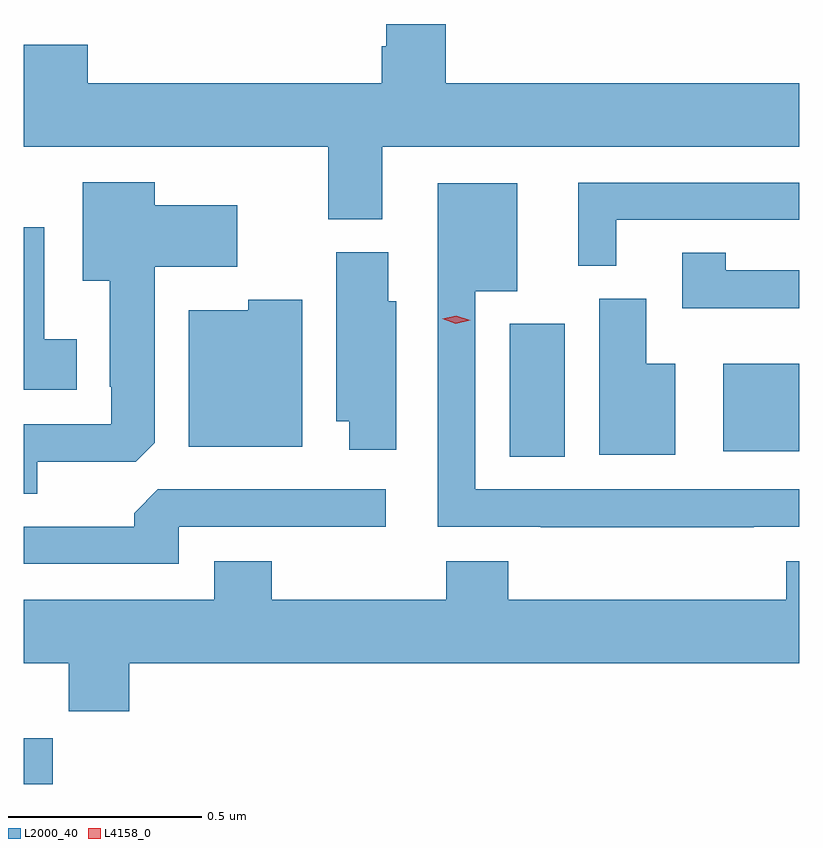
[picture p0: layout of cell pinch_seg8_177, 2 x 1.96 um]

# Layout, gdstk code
import gdstk
lib = gdstk.Library(unit=1e-6, precision=1e-09)
def R(c, l, rs):  # rectangles x0, y0, x1, y1
    for r in rs: c.add(gdstk.rectangle(r[:2], r[2:], *l))
def P(c, l, *ps):  # polygons
    for p in ps: c.add(gdstk.Polygon(p, *l))
L2000_40 = (2000, 40)
L4158_0 = (4158, 0)

pinch_seg8_177 = lib.new_cell('pinch_seg8_177')
R(pinch_seg8_177, L2000_40, [(682.248,1138.832,682.322,1138.95), (683.501,1139.677,683.644,1140.019), (684.053,1139.69,684.248,1139.917)])
P(pinch_seg8_177, L2000_40, [(683.173,1140.476),(684.248,1140.476),(684.248,1140.64),(683.336,1140.64),(683.336,1140.793),(683.183,1140.793),(683.183,1140.736),(683.171,1140.736),(683.171,1140.64),(682.412,1140.64),(682.412,1140.739),(682.248,1140.739),(682.248,1140.476),(683.033,1140.476),(683.033,1140.289),(683.173,1140.289)],
  [(682.282,1139.664),(682.536,1139.664),(682.585,1139.713),(682.585,1140.167),(682.798,1140.167),(682.798,1140.325),(682.585,1140.325),(682.585,1140.385),(682.4,1140.385),(682.4,1140.131),(682.469,1140.131),(682.469,1139.857),(682.473,1139.857),(682.473,1139.76),(682.248,1139.76),(682.248,1139.581),(682.282,1139.581)],
  [(683.776,1140.288),(684.248,1140.288),(684.248,1140.384),(683.678,1140.384),(683.678,1140.169),(683.776,1140.169)],
  [(684.131,1139.496),(684.248,1139.496),(684.248,1139.592),(683.412,1139.592),(683.412,1140.104),(683.521,1140.104),(683.521,1140.382),(683.316,1140.382),(683.316,1139.496),(683.581,1139.496),(683.581,1139.495),(684.131,1139.495)],
  [(682.384,1139.98),(682.3,1139.98),(682.3,1140.268),(682.248,1140.268),(682.248,1139.849),(682.384,1139.849)],
  [(683.209,1140.078),(683.188,1140.078),(683.188,1140.204),(683.054,1140.204),(683.054,1139.768),(683.087,1139.768),(683.087,1139.694),(683.209,1139.694)],
  [(684.248,1140.157),(684.059,1140.157),(684.059,1140.203),(683.946,1140.203),(683.946,1140.059),(684.248,1140.059)],
  [(683.929,1139.917),(683.854,1139.917),(683.854,1140.084),(683.732,1140.084),(683.732,1139.681),(683.929,1139.681)],
  [(682.966,1140.082),(682.827,1140.082),(682.827,1140.055),(682.673,1140.055),(682.673,1139.702),(682.966,1139.702)],
  [(682.647,1139.496),(683.182,1139.496),(683.182,1139.592),(682.593,1139.592),(682.532,1139.53),(682.532,1139.496),(682.248,1139.496),(682.248,1139.4),(682.647,1139.4)],
  [(682.52,1139.144),(684.248,1139.144),(684.248,1139.407),(684.215,1139.407),(684.215,1139.308),(683.498,1139.308),(683.498,1139.407),(683.338,1139.407),(683.338,1139.308),(682.887,1139.308),(682.887,1139.407),(682.739,1139.407),(682.739,1139.308),(682.248,1139.308),(682.248,1139.144),(682.363,1139.144),(682.363,1139.02),(682.52,1139.02)])
P(pinch_seg8_177, L4158_0, [(683.362,1140.02),(683.327,1140.033),(683.327,1140.033),(683.327,1140.033),(683.364,1140.04),(683.399,1140.028),(683.399,1140.028),(683.399,1140.028)])

lib.write_gds('pinch_seg8_177.gds')
